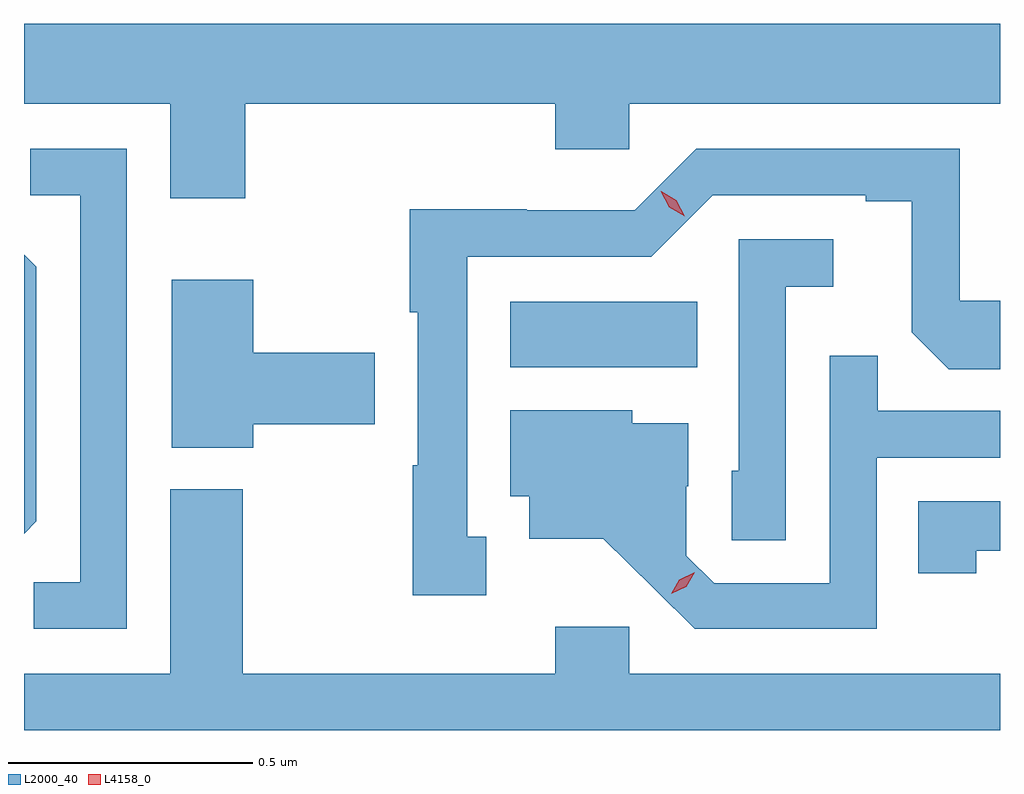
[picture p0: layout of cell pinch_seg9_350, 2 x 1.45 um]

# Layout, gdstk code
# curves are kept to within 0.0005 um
import gdstk
lib = gdstk.Library(unit=1e-6, precision=1e-09)
def R(c, l, rs):  # rectangles x0, y0, x1, y1
    for r in rs: c.add(gdstk.rectangle(r[:2], r[2:], *l))
def P(c, l, *ps):  # polygons
    for p in ps: c.add(gdstk.Polygon(p, *l))
L2000_40 = (2000, 40)
L4158_0 = (4158, 0)

pinch_seg9_350 = lib.new_cell('pinch_seg9_350')
R(pinch_seg9_350, L2000_40, [(638.426,1181.228,638.81,1181.362)])
P(pinch_seg9_350, L2000_40, [(637.883,1181.768),(638.519,1181.768),(638.519,1181.675),(638.67,1181.675),(638.67,1181.768),(639.43,1181.768),(639.43,1181.932),(637.43,1181.932),(637.43,1181.768),(637.73,1181.768),(637.73,1181.574),(637.883,1181.574)],
  [(637.641,1181.676),(637.443,1181.676),(637.443,1181.58),(637.545,1181.58),(637.545,1180.787),(637.45,1180.787),(637.45,1180.692),(637.641,1180.692)],
  [(638.377,1180.881),(638.338,1180.881),(638.338,1181.454),(638.715,1181.454),(638.841,1181.58),(639.155,1181.58),(639.155,1181.568),(639.249,1181.568),(639.249,1181.3),(639.325,1181.224),(639.43,1181.224),(639.43,1181.364),(639.348,1181.364),(639.348,1181.676),(638.808,1181.676),(638.682,1181.55),(638.46,1181.55),(638.46,1181.552),(638.22,1181.552),(638.22,1181.341),(638.237,1181.341),(638.237,1181.027),(638.227,1181.027),(638.227,1180.761),(638.377,1180.761)],
  [(638.991,1181.393),(639.088,1181.393),(639.088,1181.49),(638.895,1181.49),(638.895,1181.016),(638.88,1181.016),(638.88,1180.873),(638.991,1180.873)],
  [(637.455,1180.912),(637.455,1181.434),(637.43,1181.459),(637.43,1180.887)],
  [(637.9,1181.111),(638.149,1181.111),(638.149,1181.258),(637.9,1181.258),(637.9,1181.407),(637.733,1181.407),(637.733,1181.063),(637.9,1181.063)],
  [(639.177,1181.043),(639.43,1181.043),(639.43,1181.139),(639.179,1181.139),(639.179,1181.252),(639.081,1181.252),(639.081,1180.785),(638.844,1180.785),(638.787,1180.842),(638.787,1180.984),(638.791,1180.984),(638.791,1181.113),(638.676,1181.113),(638.676,1181.14),(638.426,1181.14),(638.426,1180.964),(638.465,1180.964),(638.465,1180.877),(638.617,1180.877),(638.804,1180.692),(639.177,1180.692)],
  [(639.43,1180.6),(638.67,1180.6),(638.67,1180.696),(638.519,1180.696),(638.519,1180.6),(637.878,1180.6),(637.878,1180.978),(637.73,1180.978),(637.73,1180.6),(637.43,1180.6),(637.43,1180.484),(639.43,1180.484)],
  [(639.381,1180.852),(639.43,1180.852),(639.43,1180.953),(639.262,1180.953),(639.262,1180.806),(639.381,1180.806)])
P(pinch_seg9_350, L4158_0, [(638.756,1180.764),(638.756,1180.764),(638.773,1180.793),(638.804,1180.808),(638.804,1180.808),(638.804,1180.808),(638.787,1180.778),(638.756,1180.764)],
  [(638.784,1181.537),(638.752,1181.556),(638.735,1181.589),(638.735,1181.589),(638.736,1181.589),(638.767,1181.57),(638.784,1181.537),(638.784,1181.537)])

lib.write_gds('pinch_seg9_350.gds')
